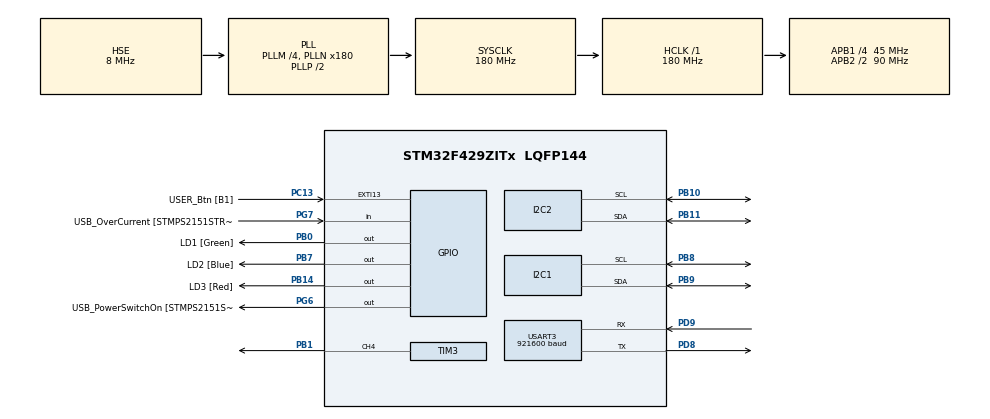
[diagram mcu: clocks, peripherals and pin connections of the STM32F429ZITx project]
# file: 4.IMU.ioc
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Mcu.Family=STM32F4
Mcu.Name=STM32F429ZITx
Mcu.Package=LQFP144
NVIC.PriorityGroup=NVIC_PRIORITYGROUP_4
NVIC.TIM3_IRQn=true\:0\:0\:false\:false\:true\:true\:true\:true
NVIC.USART3_IRQn=true\:0\:0\:false\:false\:true\:true\:true\:true
PA1.GPIO_Label=RMII_REF_CLK [LAN8742A-CZ-TR_REFCLK0]
PA1.Signal=ETH_REF_CLK
PA10.GPIO_Label=USB_ID
PA10.Signal=USB_OTG_FS_ID
PA11.GPIO_Label=USB_DM
PA11.Signal=USB_OTG_FS_DM
PA12.GPIO_Label=USB_DP
PA12.Signal=USB_OTG_FS_DP
PA13.GPIO_Label=TMS
PA13.Mode=Serial_Wire
PA13.Signal=SYS_JTMS-SWDIO
PA14.GPIO_Label=TCK
PA14.Mode=Serial_Wire
PA14.Signal=SYS_JTCK-SWCLK
PA2.GPIO_Label=RMII_MDIO [LAN8742A-CZ-TR_MDIO]
PA2.Signal=ETH_MDIO
PA7.GPIO_Label=RMII_CRS_DV [LAN8742A-CZ-TR_CRS_DV]
PA7.Signal=ETH_CRS_DV
PA8.GPIO_Label=USB_SOF [TP1]
PA8.Signal=USB_OTG_FS_SOF
PA9.GPIO_Label=USB_VBUS
PA9.Signal=USB_OTG_FS_VBUS
PB0.GPIO_Label=LD1 [Green]
PB0.Signal=GPIO_Output
PB1.Signal=S_TIM3_CH4
PB10.Mode=I2C
PB10.Signal=I2C2_SCL
PB11.Mode=I2C
PB11.Signal=I2C2_SDA
PB13.GPIO_Label=RMII_TXD1 [LAN8742A-CZ-TR_TXD1]
PB13.Signal=ETH_TXD1
PB14.GPIO_Label=LD3 [Red]
PB14.Signal=GPIO_Output
PB7.GPIO_Label=LD2 [Blue]
PB7.Signal=GPIO_Output
PB8.Mode=I2C
PB8.Signal=I2C1_SCL
PB9.Mode=I2C
PB9.Signal=I2C1_SDA
PC1.GPIO_Label=RMII_MDC [LAN8742A-CZ-TR_MDC]
PC1.Signal=ETH_MDC
PC13.GPIO_Label=USER_Btn [B1]
PC13.Signal=GPXTI13
PC14/OSC32_IN.Mode=LSE-External-Clock-Source
PC14/OSC32_IN.Signal=RCC_OSC32_IN
PC15/OSC32_OUT.Mode=LSE-External-Clock-Source
PC15/OSC32_OUT.Signal=RCC_OSC32_OUT
PC4.GPIO_Label=RMII_RXD0 [LAN8742A-CZ-TR_RXD0]
PC4.Signal=ETH_RXD0
PC5.GPIO_Label=RMII_RXD1 [LAN8742A-CZ-TR_RXD1]
PC5.Signal=ETH_RXD1
PD8.Mode=Asynchronous
PD8.Signal=USART3_TX
PD9.Mode=Asynchronous
PD9.Signal=USART3_RX
PG11.GPIO_Label=RMII_TX_EN [LAN8742A-CZ-TR_TXEN]
PG11.Signal=ETH_TX_EN
PG13.GPIO_Label=RMII_TXD0 [LAN8742A-CZ-TR_TXD0]
PG13.Signal=ETH_TXD0
PG6.GPIO_Label=USB_PowerSwitchOn [STMPS2151STR_EN]
PG6.Signal=GPIO_Output
PG7.GPIO_Label=USB_OverCurrent [STMPS2151STR_FAULT]
PG7.Signal=GPIO_Input
PH0/OSC_IN.GPIO_Label=MCO [STM32F103CBT6_PA8]
PH0/OSC_IN.Mode=HSE-External-Oscillator
PH0/OSC_IN.Signal=RCC_OSC_IN
PH1/OSC_OUT.Mode=HSE-External-Oscillator
PH1/OSC_OUT.Signal=RCC_OSC_OUT
ProjectManager.HeapSize=0x200
ProjectManager.StackSize=0x400
ProjectManager.TargetToolchain=STM32CubeIDE
RCC.48MHZClocksFreq_Value=90000000
RCC.AHBFreq_Value=180000000
RCC.APB1CLKDivider=RCC_HCLK_DIV4
RCC.APB1Freq_Value=45000000
RCC.APB1TimFreq_Value=90000000
RCC.APB2CLKDivider=RCC_HCLK_DIV2
RCC.APB2Freq_Value=90000000
RCC.APB2TimFreq_Value=180000000
RCC.CortexFreq_Value=180000000
RCC.HCLKFreq_Value=180000000
RCC.HSE_VALUE=8000000
RCC.HSI_VALUE=16000000
RCC.LSE_VALUE=32768
RCC.PLLM=4
RCC.PLLMUL=RCC_PLL_MUL9
RCC.PLLN=180
RCC.PLLSourceVirtual=RCC_PLLSOURCE_HSE
RCC.PRESCALERUSB=RCC_USBCLKSOURCE_PLL_DIV1_5
RCC.SYSCLKFreq_VALUE=180000000
RCC.SYSCLKSource=RCC_SYSCLKSOURCE_PLLCLK
RCC.SYSCLKSourceVirtual=RCC_SYSCLKSOURCE_PLLCLK
RCC.USBFreq_Value=48000000
RCC.VCOOutputFreq_Value=360000000
SH.S_TIM3_CH4.0=TIM3_CH4,PWM Generation4 CH4
TIM3.AutoReloadPreload=TIM_AUTORELOAD_PRELOAD_ENABLE
TIM3.Channel-PWM\ Generation4\ CH4=TIM_CHANNEL_4
TIM3.Period=30-1
TIM3.Prescaler=999
TIM3.Pulse-PWM\ Generation4\ CH4=14
USART3.BaudRate=921600
USART3.VirtualMode=VM_ASYNC
VP_TIM3_VS_ClockSourceINT.Mode=Internal
board=NUCLEO-F429ZI

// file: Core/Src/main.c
/* USER CODE BEGIN Header */
/**
  ******************************************************************************
  * @file           : main.c
  * @brief          : Main program body
  ******************************************************************************
  * @attention
  *
  * Copyright (c) 2022 STMicroelectronics.
  * All rights reserved.
  *
  * This software is licensed under terms that can be found in the LICENSE file
  * in the root directory of this software component.
  * If no LICENSE file comes with this software, it is provided AS-IS.
  *
  ******************************************************************************
  */
/* USER CODE END Header */
#include "main.h"
#include "i2c.h"
#include "tim.h"
#include "usart.h"
#include "gpio.h"

/* USER CODE BEGIN Includes */
#include "stdio.h"
#include "HW579.h"
/* USER CODE END Includes */

/* USER CODE BEGIN PV */
HW579 hw579;
AxisData compassData;
AccelData accelData;

extern uint8_t uart3_rx_flag;
extern uint8_t uart3_rx_data;
/* USER CODE END PV */

void SystemClock_Config(void);
/* USER CODE BEGIN PFP */
int _write(uint32_t file, uint8_t* ptr, uint32_t len )
{

	for(int i = 0; i < len; i++)
	{
		LL_USART_TransmitData8(USART3, *(ptr+i));
		HAL_Delay(1);
	}

	return len;

	//if(HAL_UART_Transmit(&huart3, ptr, len, len) == HAL_OK) return len;
	//else return 0;
}
/* USER CODE END PFP */

int main(void)
{

  /* MCU Configuration--------------------------------------------------------*/

  /* Reset of all peripherals, Initializes the Flash interface and the Systick. */
  HAL_Init();

  /* Configure the system clock */
  SystemClock_Config();

  /* Initialize all configured peripherals */
  MX_GPIO_Init();
  MX_USART3_UART_Init();
  MX_TIM3_Init();
  MX_I2C1_Init();
  MX_I2C2_Init();
  /* USER CODE BEGIN 2 */
  HW579_Init(&hw579, I2C1, 1.3);

  LL_TIM_EnableCounter(TIM3);
  LL_USART_EnableIT_RXNE(USART3);	// Receive Complete Interrupt -> IRQ Handler

  /* USER CODE END 2 */

  /* Infinite loop */
  /* USER CODE BEGIN WHILE */
  LL_TIM_CC_EnableChannel(TIM3, LL_TIM_CHANNEL_CH4);
  for(int i=0; i< 4; i++)
   	  {
   		  TIM3->PSC = 3000 - 500*i;
   		  printf("TIM3->PSC : %ld\r\n", TIM3->PSC);
   		  HAL_Delay(100);

   	  }
   LL_TIM_CC_DisableChannel(TIM3, LL_TIM_CHANNEL_CH4);

//  float f = 1.234;
//  int32_t fToInt = (int32_t)(f * 1000);
//  printf("%f %ld\r\n", f, fToInt);

//  float a = 1.3f;
//  if(a==1.3f)printf("a float\r\n");
//  else printf("a float not working\r\n");

  while (1)
  {
    /* USER CODE END WHILE */

    /* USER CODE BEGIN 3 */

	  Read_Magneto((hw579.MAGNETO), &compassData);

	  printf("%d %d %d\r\n", compassData.XAxis, compassData.YAxis, compassData.ZAxis);

	  //printf("%lf\r\n", (double)fToInt/1000);
	  //fToInt += 1;
	  HAL_Delay(500);

	  if(uart3_rx_flag == 1)
	  {
		  uart3_rx_flag = 0;
		  LL_USART_TransmitData8(USART3, uart3_rx_data);	// Transmit received data
		  switch(uart3_rx_data)
		  {
		  	  case '0':
		  		  LL_GPIO_TogglePin(GPIOB, LL_GPIO_PIN_0| LL_GPIO_PIN_7|LL_GPIO_PIN_14);
		  		  HAL_Delay(500);
		  		  break;

		  	  case '1': LL_TIM_CC_EnableChannel(TIM3, LL_TIM_CHANNEL_CH4); break;
		  	  case '2': LL_TIM_CC_DisableChannel(TIM3, LL_TIM_CHANNEL_CH4); break;
		  }
	  }

  }
  /* USER CODE END 3 */
}

void SystemClock_Config(void)
{
  RCC_OscInitTypeDef RCC_OscInitStruct = {0};
  RCC_ClkInitTypeDef RCC_ClkInitStruct = {0};

  /** Configure the main internal regulator output voltage
  */
  __HAL_RCC_PWR_CLK_ENABLE();
  __HAL_PWR_VOLTAGESCALING_CONFIG(PWR_REGULATOR_VOLTAGE_SCALE1);

  /** Initializes the RCC Oscillators according to the specified parameters
  * in the RCC_OscInitTypeDef structure.
  */
  RCC_OscInitStruct.OscillatorType = RCC_OSCILLATORTYPE_HSE;
  RCC_OscInitStruct.HSEState = RCC_HSE_ON;
  RCC_OscInitStruct.PLL.PLLState = RCC_PLL_ON;
  RCC_OscInitStruct.PLL.PLLSource = RCC_PLLSOURCE_HSE;
  RCC_OscInitStruct.PLL.PLLM = 4;
  RCC_OscInitStruct.PLL.PLLN = 180;
  RCC_OscInitStruct.PLL.PLLP = RCC_PLLP_DIV2;
  RCC_OscInitStruct.PLL.PLLQ = 4;
  if (HAL_RCC_OscConfig(&RCC_OscInitStruct) != HAL_OK)
  {
    Error_Handler();
  }

  /** Activate the Over-Drive mode
  */
  if (HAL_PWREx_EnableOverDrive() != HAL_OK)
  {
    Error_Handler();
  }

  /** Initializes the CPU, AHB and APB buses clocks
  */
  RCC_ClkInitStruct.ClockType = RCC_CLOCKTYPE_HCLK|RCC_CLOCKTYPE_SYSCLK
                              |RCC_CLOCKTYPE_PCLK1|RCC_CLOCKTYPE_PCLK2;
  RCC_ClkInitStruct.SYSCLKSource = RCC_SYSCLKSOURCE_PLLCLK;
  RCC_ClkInitStruct.AHBCLKDivider = RCC_SYSCLK_DIV1;
  RCC_ClkInitStruct.APB1CLKDivider = RCC_HCLK_DIV4;
  RCC_ClkInitStruct.APB2CLKDivider = RCC_HCLK_DIV2;

  if (HAL_RCC_ClockConfig(&RCC_ClkInitStruct, FLASH_LATENCY_5) != HAL_OK)
  {
    Error_Handler();
  }
}

void Error_Handler(void)
{
  __disable_irq();
  while (1)
  {
  }
}
